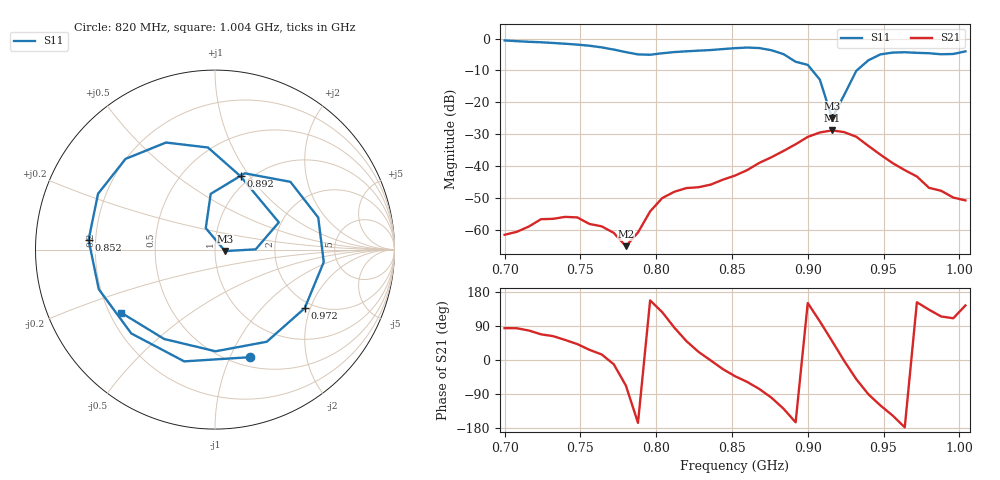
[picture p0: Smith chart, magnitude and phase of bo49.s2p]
# Hz S RI R 50
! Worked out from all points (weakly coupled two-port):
!   39 points, 700 MHz to 1.004 GHz, reference 50 ohm
!   highest |S21| = -28.79 dB at 916 MHz (marker M1); lowest = -65.1 dB at 780 MHz (marker M2)
!   lowest |S11| = -25.0 dB at 916 MHz (marker M3), VSWR 1.12, Z = 55.9 - j0.92 ohm
!   |S11| at or under -10 dB: 903 MHz to 932.3 MHz (29.31 MHz wide, 3.19 % of centre)
!   S12 and S22 are empty: the file has one direction only
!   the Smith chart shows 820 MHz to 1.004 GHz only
!   S11 on the Smith chart (normalised r, x): 820 MHz: 0.60, -1.19; 852 MHz: 0.17, +0.04; 892 MHz: 0.90, +0.91; 972 MHz: 1.80, -1.83; 1.004 GHz: 0.25, -0.29
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7e8  0.7676 0.5303  8.7e-05 0.000836  0 0  0 0
7.24e8  0.8331 -0.264  0.000558 0.00136  0 0  0 0
7.4e8  0.441 -0.7014  0.00097 0.00128  0 0  0 0
7.56e8  -0.2038 -0.7439  0.00111 0.00056  0 0  0 0
7.72e8  -0.6508 -0.1648  0.000884 -0.000174  0 0  0 0
7.8e8  -0.5562 0.256  0.000215 -0.000514  0 0  0 0
7.88e8  -0.1784 0.5352  -0.000886 -0.000223  0 0  0 0
8.04e8  0.5814 0.0863  -0.00187 0.00255  0 0  0 0
8.2e8  0.1964 -0.5993  0.00294 0.00346  0 0  0 0
8.36e8  -0.4663 -0.4673  0.00514 -0.00011  0 0  0 0
8.52e8  -0.7043 0.054  0.00523 -0.00483  0 0  0 0
8.76e8  -0.2731 0.5965  -0.00222 -0.0136  0 0  0 0
8.92e8  0.1424 0.4086  -0.0212 -0.00591  0 0  0 0
9e8  0.3557 0.1518  -0.025 0.0142  0 0  0 0
9.08e8  0.2266 0.00138  -0.00688 0.033  0 0  0 0
9.16e8  0.0558 -0.0082  0.0232 0.028  0 0  0 0
9.32e8  -0.024 0.3105  0.0184 -0.0223  0 0  0 0
9.4e8  0.1656 0.425  -0.000151 -0.0208  0 0  0 0
9.56e8  0.5753 0.1786  -0.00932 -0.00615  0 0  0 0
9.72e8  0.4996 -0.3266  -0.00611 0.00319  0 0  0 0
9.88e8  0.00343 -0.5665  -0.00173 0.00373  0 0  0 0
1.004e9  -0.5224 -0.3517  -0.00235 0.00171  0 0  0 0
